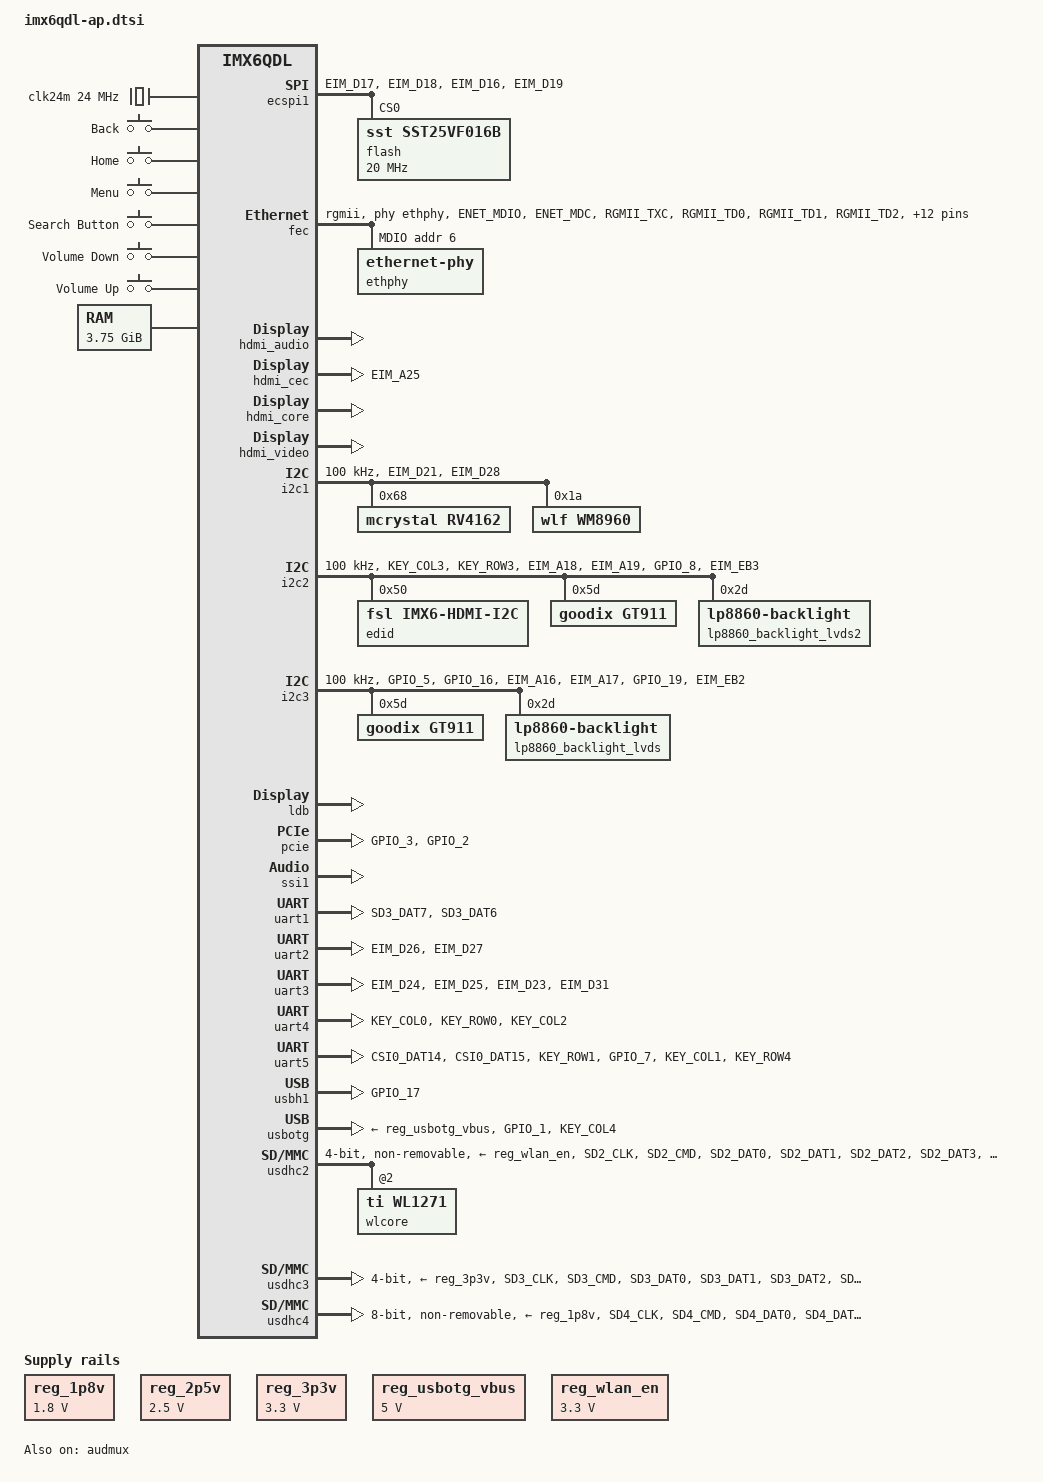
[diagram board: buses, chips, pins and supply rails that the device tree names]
/*
 * Copyright 2017 Boundary Devices, Inc.
 * Copyright 2012 Freescale Semiconductor, Inc.
 * Copyright 2011 Linaro Ltd.
 *
 * The code contained herein is licensed under the GNU General Public
 * License. You may obtain a copy of the GNU General Public License
 * Version 2 or later at the following locations:
 *
 * http://www.opensource.org/licenses/gpl-license.html
 * http://www.gnu.org/copyleft/gpl.html
 */
#include <dt-bindings/gpio/gpio.h>
#include <dt-bindings/input/input.h>

&iomuxc {
	pinctrl-names = "default";
	pinctrl-0 = <&pinctrl_hog>;

	iomuxc_imx6q_ap: iomuxc-imx6q-apgrp {
		status = "okay";
	};
};

&iomuxc_imx6q_ap {
	pinctrl_audmux: audmuxgrp {
		fsl,pins = <
			MX6QDL_PAD_CSI0_DAT4__AUD3_TXC		0x130b0
			MX6QDL_PAD_CSI0_DAT5__AUD3_TXD		0x110b0
			MX6QDL_PAD_CSI0_DAT6__AUD3_TXFS		0x130b0
			MX6QDL_PAD_CSI0_DAT7__AUD3_RXD		0x130b0
		>;
	};

	pinctrl_bt_rfkill: bt-rfkillgrp {
		fsl,pins = <
#define GP_BT_RFKILL_RESET	<&gpio6 16 GPIO_ACTIVE_LOW>
			MX6QDL_PAD_NANDF_CS3__GPIO6_IO16	0x030b0
		>;
	};

	pinctrl_ecspi1: ecspi1grp {
		fsl,pins = <
			MX6QDL_PAD_EIM_D17__ECSPI1_MISO		0x100b1
			MX6QDL_PAD_EIM_D18__ECSPI1_MOSI		0x100b1
			MX6QDL_PAD_EIM_D16__ECSPI1_SCLK		0x000b1
#define GP_ECSPI1_NOR_CS	<&gpio3 19 GPIO_ACTIVE_LOW>
			MX6QDL_PAD_EIM_D19__GPIO3_IO19		0x0b0b1
		>;
	};

	pinctrl_enet: enetgrp {
		fsl,pins = <
			MX6QDL_PAD_ENET_MDIO__ENET_MDIO		0x1b0b0
			MX6QDL_PAD_ENET_MDC__ENET_MDC		0x1b0b0
			MX6QDL_PAD_RGMII_TXC__RGMII_TXC		0x100b0
			MX6QDL_PAD_RGMII_TD0__RGMII_TD0		0x100b0
			MX6QDL_PAD_RGMII_TD1__RGMII_TD1		0x100b0
			MX6QDL_PAD_RGMII_TD2__RGMII_TD2		0x100b0
			MX6QDL_PAD_RGMII_TD3__RGMII_TD3		0x100b0
			MX6QDL_PAD_RGMII_TX_CTL__RGMII_TX_CTL	0x100b0
			MX6QDL_PAD_ENET_REF_CLK__ENET_TX_CLK	0x100b0
			MX6QDL_PAD_RGMII_RXC__RGMII_RXC		0x1b0b0
			MX6QDL_PAD_RGMII_RD0__RGMII_RD0		0x1b0b0
			MX6QDL_PAD_RGMII_RD1__RGMII_RD1		0x1b0b0
			MX6QDL_PAD_RGMII_RD2__RGMII_RD2		0x1b0b0
			MX6QDL_PAD_RGMII_RD3__RGMII_RD3		0x1b0b0
			MX6QDL_PAD_RGMII_RX_CTL__RGMII_RX_CTL	0x1b0b0
#define GP_ENET_PHY_RESET	<&gpio1 27 GPIO_ACTIVE_LOW>
			MX6QDL_PAD_ENET_RXD0__GPIO1_IO27	0x030b0
#define GPIRQ_ENET_PHY		<&gpio1 28 IRQ_TYPE_LEVEL_LOW>
			MX6QDL_PAD_ENET_TX_EN__GPIO1_IO28	0x1b0b0
#define GPIRQ_ENET		<&gpio1 6 IRQ_TYPE_LEVEL_HIGH>
			MX6QDL_PAD_GPIO_6__ENET_IRQ		0x000b1
		>;
	};

	pinctrl_gpio_keys: gpio-keysgrp {
		fsl,pins = <
#define GP_GPIOKEY_BACK		<&gpio2 2 GPIO_ACTIVE_LOW>
			MX6QDL_PAD_NANDF_D2__GPIO2_IO02		0x1b0b0
#define GP_GPIOKEY_HOME		<&gpio2 4 GPIO_ACTIVE_LOW>
			MX6QDL_PAD_NANDF_D4__GPIO2_IO04		0x1b0b0
#define GP_GPIOKEY_MENU		<&gpio2 1 GPIO_ACTIVE_LOW>
			MX6QDL_PAD_NANDF_D1__GPIO2_IO01		0x1b0b0
#define GP_GPIOKEY_SEARCH	<&gpio2 3 GPIO_ACTIVE_LOW>
			MX6QDL_PAD_NANDF_D3__GPIO2_IO03		0x1b0b0
#define GP_GPIOKEY_VOL_DN	<&gpio7 1 GPIO_ACTIVE_LOW>
			MX6QDL_PAD_SD3_DAT4__GPIO7_IO01		0x1b0b0
#define GP_GPIOKEY_VOL_UP	<&gpio7 13 GPIO_ACTIVE_LOW>
			MX6QDL_PAD_GPIO_18__GPIO7_IO13		0x1b0b0
		>;
	};

	pinctrl_hdmi_cec: hdmi-cecgrp {
		fsl,pins = <
			MX6QDL_PAD_EIM_A25__HDMI_TX_CEC_LINE	0x1f8b0
		>;
	};

	pinctrl_hog: hoggrp {
		fsl,pins = <
#define GP_GPIO_1		<&gpio4 23 GPIO_ACTIVE_LOW>
			MX6QDL_PAD_DISP0_DAT2__GPIO4_IO23	0x1b0b0
#define GP_GPIO_2		<&gpio4 21 GPIO_ACTIVE_LOW>
			MX6QDL_PAD_DISP0_DAT0__GPIO4_IO21	0x1b0b0
#define GP_GPIO_3		<&gpio4 22 GPIO_ACTIVE_LOW>
			MX6QDL_PAD_DISP0_DAT1__GPIO4_IO22	0x1b0b0
#define GP_GPIO_4		<&gpio4 24 GPIO_ACTIVE_LOW>
			MX6QDL_PAD_DISP0_DAT3__GPIO4_IO24	0x1b0b0
#define GP_GPIO_5		<&gpio4 25 GPIO_ACTIVE_LOW>
			MX6QDL_PAD_DISP0_DAT4__GPIO4_IO25	0x1b0b0
#define GP_GPIO_6		<&gpio4 26 GPIO_ACTIVE_LOW>
			MX6QDL_PAD_DISP0_DAT5__GPIO4_IO26	0x1b0b0
#define GP_GPIO_7		<&gpio1 17 GPIO_ACTIVE_LOW>
			MX6QDL_PAD_SD1_DAT1__GPIO1_IO17		0x1b0b0
#define GP_GPIO_8		<&gpio4 31 GPIO_ACTIVE_LOW>
			MX6QDL_PAD_DISP0_DAT10__GPIO4_IO31	0x1b0b0
#define GP_GPIO_9		<&gpio5 12 GPIO_ACTIVE_LOW>
			MX6QDL_PAD_DISP0_DAT18__GPIO5_IO12	0x1b0b0
#define GP_GPIO_10		<&gpio5 5 GPIO_ACTIVE_LOW>
			MX6QDL_PAD_DISP0_DAT11__GPIO5_IO05	0x1b0b0
#define GP_GPIO_11		<&gpio5 11 GPIO_ACTIVE_LOW>
			MX6QDL_PAD_DISP0_DAT17__GPIO5_IO11	0x1b0b0
#define GP_GPIO_12		<&gpio5 6 GPIO_ACTIVE_LOW>
			MX6QDL_PAD_DISP0_DAT12__GPIO5_IO06	0x1b0b0
#define GP_GPIO_13		<&gpio5 10 GPIO_ACTIVE_LOW>
			MX6QDL_PAD_DISP0_DAT16__GPIO5_IO10	0x1b0b0
#define GP_GPIO_14		<&gpio5 7 GPIO_ACTIVE_LOW>
			MX6QDL_PAD_DISP0_DAT13__GPIO5_IO07	0x1b0b0
#define GP_GPIO_15		<&gpio5 9 GPIO_ACTIVE_LOW>
			MX6QDL_PAD_DISP0_DAT15__GPIO5_IO09	0x1b0b0
#define GP_GPIO_16		<&gpio5 8 GPIO_ACTIVE_LOW>
			MX6QDL_PAD_DISP0_DAT14__GPIO5_IO08	0x1b0b0

#define GP_BT_CLK_REQ		<&gpio6 8 GPIO_ACTIVE_LOW>
			MX6QDL_PAD_NANDF_ALE__GPIO6_IO08	0x1b0b0
#define GP_BT_HOST_WAKE		<&gpio6 7 GPIO_ACTIVE_LOW>
			MX6QDL_PAD_NANDF_CLE__GPIO6_IO07	0x1b0b0
#define GP_WIFI_QOW		<&gpio2 5 GPIO_ACTIVE_LOW>
			MX6QDL_PAD_NANDF_D5__GPIO2_IO05		0x1b0b0
#define GP_TP71			<&gpio1 30 GPIO_ACTIVE_LOW>
			MX6QDL_PAD_ENET_TXD0__GPIO1_IO30	0x1b0b0
#define GP_TP74			<&gpio2 7 GPIO_ACTIVE_LOW>
			MX6QDL_PAD_NANDF_D7__GPIO2_IO07		0x1b0b0
#define GP_TP101		<&gpio3 30 GPIO_ACTIVE_LOW>
			MX6QDL_PAD_EIM_D30__GPIO3_IO30		0x1b0b0
#define GP_TP102		<&gpio5 0 GPIO_ACTIVE_LOW>
			MX6QDL_PAD_EIM_WAIT__GPIO5_IO00		0x1b0b0
		>;
	};

	pinctrl_i2c1: i2c1grp {
		fsl,pins = <
			MX6QDL_PAD_EIM_D21__I2C1_SCL		0x4001b8b1
			MX6QDL_PAD_EIM_D28__I2C1_SDA		0x4001b8b1
		>;
	};

	pinctrl_i2c1_rv4162: i2c1-rv4162grp {
		fsl,pins = <
#define GPIRQ_RTC_RV4162	<&gpio1 4 IRQ_TYPE_LEVEL_LOW>
			MX6QDL_PAD_GPIO_4__GPIO1_IO04		0x1b0b0
		>;
	};

	pinctrl_i2c1_wm8960: i2c1-wm8960grp {
		fsl,pins = <
			MX6QDL_PAD_GPIO_0__CCM_CLKO1		0x000b0		/* aud_mclk */
		>;
	};

	pinctrl_i2c2: i2c2grp {
		fsl,pins = <
			MX6QDL_PAD_KEY_COL3__I2C2_SCL		0x4001b8b1
			MX6QDL_PAD_KEY_ROW3__I2C2_SDA		0x4001b8b1
#define GP_SER2_GPIO5		<&gpio2 20 GPIO_ACTIVE_LOW>
			MX6QDL_PAD_EIM_A18__GPIO2_IO20		0x1b0b0
#define GP_SER2_GPIO6		<&gpio2 19 GPIO_ACTIVE_LOW>
			MX6QDL_PAD_EIM_A19__GPIO2_IO19		0x1b0b0
#define GP_SER2_FAN_OK		<&gpio1 8 GPIO_ACTIVE_LOW>
			MX6QDL_PAD_GPIO_8__GPIO1_IO08		0x1b0b0
#define GPIRQ_SER2		<&gpio2 31 IRQ_TYPE_EDGE_FALLING>
			MX6QDL_PAD_EIM_EB3__GPIO2_IO31		0x1b0b0
		>;
	};

	pinctrl_i2c2_gt911: i2c2_gt911grp {
		fsl,pins = <
#define GPIRQ_I2C2_SER2_TOUCH	<&gpio1 16 IRQ_TYPE_LEVEL_HIGH>	/* GP0 */
#define GP_I2C2_SER2_TOUCH	<&gpio1 16 GPIO_ACTIVE_HIGH>
			MX6QDL_PAD_SD1_DAT0__GPIO1_IO16		0x130b0
#define GP_I2C2_GT911_RESET	<&gpio1 19 GPIO_ACTIVE_HIGH>	/* GP3 */
			MX6QDL_PAD_SD1_DAT2__GPIO1_IO19		0x030b0
		>;
	};

	pinctrl_i2c2_lp8860: i2c2_lp8860grp {
		fsl,pins = <
#define GP_LVDS2_LP8860_RESET	<&gpio2 23 GPIO_ACTIVE_LOW>	/* GP1 */
			MX6QDL_PAD_EIM_CS0__GPIO2_IO23		0x030b0
		>;
	};

	pinctrl_i2c3: i2c3grp {
		fsl,pins = <
			MX6QDL_PAD_GPIO_5__I2C3_SCL		0x4001b8b1
			MX6QDL_PAD_GPIO_16__I2C3_SDA		0x4001b8b1
#define GP_SER1_GPIO5		<&gpio2 22 GPIO_ACTIVE_LOW>
			MX6QDL_PAD_EIM_A16__GPIO2_IO22		0x1b0b0
#define GP_SER1_GPIO6		<&gpio2 21 GPIO_ACTIVE_LOW>
			MX6QDL_PAD_EIM_A17__GPIO2_IO21		0x1b0b0
#define GP_SER1_FAN_OK		<&gpio4 5 GPIO_ACTIVE_LOW>
			MX6QDL_PAD_GPIO_19__GPIO4_IO05		0x1b0b0
#define GPIRQ_SER1		<&gpio2 30 IRQ_TYPE_EDGE_FALLING>
			MX6QDL_PAD_EIM_EB2__GPIO2_IO30		0x1b0b0
		>;
	};

	pinctrl_i2c3_gt911: i2c3_gt911grp {
		fsl,pins = <
#define GPIRQ_I2C3_SER1_TOUCH	<&gpio1 9 IRQ_TYPE_LEVEL_HIGH>	/* GP0 */
#define GP_I2C3_SER1_TOUCH	<&gpio1 9 GPIO_ACTIVE_HIGH>
			MX6QDL_PAD_GPIO_9__GPIO1_IO09		0x130b0
#define GP_I2C3_GT911_RESET	<&gpio1 18 GPIO_ACTIVE_HIGH>	/* GP3 */
			MX6QDL_PAD_SD1_CMD__GPIO1_IO18		0x030b0
		>;
	};

	pinctrl_i2c3_lp8860: i2c3_lp8860grp {
		fsl,pins = <
#define GP_LVDS_LP8860_RESET	<&gpio2 0 GPIO_ACTIVE_LOW>	/* GP1 */
			MX6QDL_PAD_NANDF_D0__GPIO2_IO00		0x030b0
		>;
	};

	pinctrl_pcie: pciegrp {
		fsl,pins = <
#define GP_PCIE_RESET		<&gpio1 3 GPIO_ACTIVE_LOW>
			MX6QDL_PAD_GPIO_3__GPIO1_IO03		0x030b0
#define GP_PCIE_DISABLE		<&gpio1 2 GPIO_ACTIVE_LOW>
			MX6QDL_PAD_GPIO_2__GPIO1_IO02		0x030b0
		>;
	};

	pinctrl_reg_usbotg_vbus: reg-usbotg-vbusgrp {
		fsl,pins = <
#define GP_REG_USBOTG		<&gpio3 22 GPIO_ACTIVE_HIGH>
			MX6QDL_PAD_EIM_D22__GPIO3_IO22		0x030b0
		>;
	};

	pinctrl_reg_wlan_en: reg-wlan-engrp {
		fsl,pins = <
#define GP_REG_WLAN_EN		<&gpio6 15 GPIO_ACTIVE_HIGH>
			MX6QDL_PAD_NANDF_CS2__GPIO6_IO15	0x030b0
		>;
	};

	pinctrl_uart1: uart1grp {
		fsl,pins = <
			MX6QDL_PAD_SD3_DAT7__UART1_TX_DATA	0x1b0b1
			MX6QDL_PAD_SD3_DAT6__UART1_RX_DATA	0x1b0b1
		>;
	};

	pinctrl_uart2: uart2grp {
		fsl,pins = <
			MX6QDL_PAD_EIM_D26__UART2_TX_DATA	0x1b0b1
			MX6QDL_PAD_EIM_D27__UART2_RX_DATA	0x1b0b1
		>;
	};

	pinctrl_uart3: uart3grp {
		fsl,pins = <
			MX6QDL_PAD_EIM_D24__UART3_TX_DATA	0x1b0b1
			MX6QDL_PAD_EIM_D25__UART3_RX_DATA	0x1b0b1
			MX6QDL_PAD_EIM_D23__UART3_CTS_B		0x1b0b1
			MX6QDL_PAD_EIM_D31__UART3_RTS_B		0x1b0b1
		>;
	};

	pinctrl_uart4: uart4grp {
		fsl,pins = <
			MX6QDL_PAD_KEY_COL0__UART4_TX_DATA	0x1b0b1
			MX6QDL_PAD_KEY_ROW0__UART4_RX_DATA	0x1b0b1
#define GP_UART4_TX_EN		<&gpio4 10 GPIO_ACTIVE_HIGH>
			MX6QDL_PAD_KEY_COL2__GPIO4_IO10		0x030b0
		>;
	};

	pinctrl_uart5: uart5grp {
		fsl,pins = <
			MX6QDL_PAD_CSI0_DAT14__UART5_TX_DATA	0x0b0b1
			MX6QDL_PAD_CSI0_DAT15__UART5_RX_DATA	0x1b0b1
#define GP_UART5_RX_EN		<&gpio4 9 GPIO_ACTIVE_HIGH>
			MX6QDL_PAD_KEY_ROW1__GPIO4_IO09		0x030b0		/* RS485 RX Enable: pull down */
#define GP_UART5_TX_EN		<&gpio1 7 GPIO_ACTIVE_HIGH>
			MX6QDL_PAD_GPIO_7__GPIO1_IO07		0x030b0		/* RS485 DEN: pull down */
#define GP_UART5_RS485_EN	 <&gpio4 8 GPIO_ACTIVE_HIGH>
			MX6QDL_PAD_KEY_COL1__GPIO4_IO08		0x030b0		/* RS485/!RS232 Select: pull down (rs232) */
#define GP_UART5_AON		<&gpio4 15 GPIO_ACTIVE_HIGH>
			MX6QDL_PAD_KEY_ROW4__GPIO4_IO15		0x030b0		/* ON: pull down */
		>;
	};

	pinctrl_usbh1: usbh1grp {
		fsl,pins = <
#define GP_USBH1_HUB_RESET	<&gpio7 12 GPIO_ACTIVE_LOW>
			MX6QDL_PAD_GPIO_17__GPIO7_IO12		0x030b0
		>;
	};

	pinctrl_usbotg: usbotggrp {
		fsl,pins = <
			MX6QDL_PAD_GPIO_1__USB_OTG_ID		0x17059
			MX6QDL_PAD_KEY_COL4__USB_OTG_OC		0x130b0
		>;
	};

	pinctrl_usdhc2: usdhc2grp {
		fsl,pins = <
			MX6QDL_PAD_SD2_CLK__SD2_CLK		0x10071
			MX6QDL_PAD_SD2_CMD__SD2_CMD		0x17071
			MX6QDL_PAD_SD2_DAT0__SD2_DATA0		0x17071
			MX6QDL_PAD_SD2_DAT1__SD2_DATA1		0x17071
			MX6QDL_PAD_SD2_DAT2__SD2_DATA2		0x17071
			MX6QDL_PAD_SD2_DAT3__SD2_DATA3		0x17071
			MX6QDL_PAD_SD1_CLK__OSC32K_32K_OUT	0x000b0		/* slow clock */
#define GPIRQ_WIFI		<&gpio6 14 IRQ_TYPE_LEVEL_HIGH>
			MX6QDL_PAD_NANDF_CS1__GPIO6_IO14	0x100b0
#define GP_WIFI_WAKE		<&gpio6 10 GPIO_ACTIVE_LOW>
			MX6QDL_PAD_NANDF_RB0__GPIO6_IO10	0x1b0b0
		>;
	};

	pinctrl_usdhc2_100mhz: usdhc2grp-100mhz {
		fsl,pins = <
			MX6QDL_PAD_SD2_CMD__SD2_CMD		0x170B9
			MX6QDL_PAD_SD2_CLK__SD2_CLK		0x100B9
			MX6QDL_PAD_SD2_DAT0__SD2_DATA0		0x170B9
			MX6QDL_PAD_SD2_DAT1__SD2_DATA1 		0x170B9
			MX6QDL_PAD_SD2_DAT2__SD2_DATA2 		0x170B9
			MX6QDL_PAD_SD2_DAT3__SD2_DATA3 		0x170B9
		>;
	};

	pinctrl_usdhc2_200mhz: usdhc2grp-200mhz {
		fsl,pins = <
			MX6QDL_PAD_SD2_CMD__SD2_CMD		0x170F9
			MX6QDL_PAD_SD2_CLK__SD2_CLK 		0x100F9
			MX6QDL_PAD_SD2_DAT0__SD2_DATA0		0x170F9
			MX6QDL_PAD_SD2_DAT1__SD2_DATA1 		0x170F9
			MX6QDL_PAD_SD2_DAT2__SD2_DATA2 		0x170F9
			MX6QDL_PAD_SD2_DAT3__SD2_DATA3 		0x170F9
		>;
	};

	pinctrl_usdhc3: usdhc3grp {
		fsl,pins = <
			MX6QDL_PAD_SD3_CLK__SD3_CLK		0x10059
			MX6QDL_PAD_SD3_CMD__SD3_CMD		0x17059
			MX6QDL_PAD_SD3_DAT0__SD3_DATA0		0x17059
			MX6QDL_PAD_SD3_DAT1__SD3_DATA1		0x17059
			MX6QDL_PAD_SD3_DAT2__SD3_DATA2		0x17059
			MX6QDL_PAD_SD3_DAT3__SD3_DATA3		0x17059
#define GP_USDHC3_CD		<&gpio7 0 GPIO_ACTIVE_LOW>
			MX6QDL_PAD_SD3_DAT5__GPIO7_IO00		0x1b0b0
		>;
	};

	pinctrl_usdhc4: usdhc4grp {
		fsl,pins = <
			MX6QDL_PAD_SD4_CLK__SD4_CLK		0x10059
			MX6QDL_PAD_SD4_CMD__SD4_CMD		0x17059
			MX6QDL_PAD_SD4_DAT0__SD4_DATA0		0x17059
			MX6QDL_PAD_SD4_DAT1__SD4_DATA1		0x17059
			MX6QDL_PAD_SD4_DAT2__SD4_DATA2		0x17059
			MX6QDL_PAD_SD4_DAT3__SD4_DATA3		0x17059
			MX6QDL_PAD_SD4_DAT4__SD4_DATA4		0x17059
			MX6QDL_PAD_SD4_DAT5__SD4_DATA5		0x17059
			MX6QDL_PAD_SD4_DAT6__SD4_DATA6		0x17059
			MX6QDL_PAD_SD4_DAT7__SD4_DATA7		0x17059
#define GP_EMMC_RESET		<&gpio2 6 GPIO_ACTIVE_LOW>
			MX6QDL_PAD_NANDF_D6__GPIO2_IO06		0x1b0b0
		>;
	};
};

/ {
	aliases {
		fb_hdmi = &fb_hdmi;
		fb_lvds = &fb_lvds;
		fb_lvds2 = &fb_lvds2;
		ldb = &ldb;
		mmc0 = &usdhc3;
		mmc1 = &usdhc4;
		mmc2 = &usdhc2;
		mxcfb0 = &fb_lvds;
		mxcfb1 = &fb_lvds2;
		mxcfb2 = &fb_hdmi;
		pwm_lvds = &pwm4;
		pwm_lvds2 = &pwm2;
		t_lvds = &t_lvds;
		t_lvds2 = &t_lvds2;
	};

	bt_rfkill {
		compatible = "net,rfkill-gpio";
		name = "bt_rfkill";
		pinctrl-names = "default";
		pinctrl-0 = <&pinctrl_bt_rfkill>;
		reset-gpios = GP_BT_RFKILL_RESET;
		type = <2>;	/* bluetooth */
	};

	clocks {
		clk24m: clk24m {
			compatible = "fixed-clock";
			#clock-cells = <0>;
			clock-frequency = <24000000>;
		};
	};

	fb_lvds: fb@0 {
		compatible = "fsl,mxc_sdc_fb";
		default_bpp = <16>;
		disp_dev = "ldb";
		interface_pix_fmt = "RGB666";
		int_clk = <0>;
		late_init = <0>;
		status = "disabled";
	};

	fb_lvds2: fb@2 {
		compatible = "fsl,mxc_sdc_fb";
		default_bpp = <16>;
		disp_dev = "ldb";
		interface_pix_fmt = "RGB666";
		int_clk = <0>;
		late_init = <0>;
		status = "disabled";
	};

	fb_hdmi: fb@3 {
		compatible = "fsl,mxc_sdc_fb";
		default_bpp = <32>;
		disp_dev = "hdmi";
		interface_pix_fmt = "RGB24";
		int_clk = <0>;
		late_init = <0>;
		mode_str ="1280x720M@60";
		status = "disabled";
	};

	gpio-keys {
		compatible = "gpio-keys";
		pinctrl-names = "default";
		pinctrl-0 = <&pinctrl_gpio_keys>;

		back {
			label = "Back";
			gpios = GP_GPIOKEY_BACK;
			linux,code = <KEY_BACK>;
		};

		home {
			label = "Home";
			gpios = GP_GPIOKEY_HOME;
			linux,code = <KEY_HOMEPAGE>;
		};

		menu {
			label = "Menu";
			gpios = GP_GPIOKEY_MENU;
			linux,code = <KEY_MENU>;
		};

		search {
			label = "Search Button";
			gpios = GP_GPIOKEY_SEARCH;
			linux,code = <KEY_SEARCH>;
			gpio-key,wakeup;
		};

		volume-down {
			label = "Volume Down";
			gpios = GP_GPIOKEY_VOL_DN;
			linux,code = <KEY_VOLUMEDOWN>;
		};

		volume-up {
			label = "Volume Up";
			gpios = GP_GPIOKEY_VOL_UP;
			linux,code = <KEY_VOLUMEUP>;
		};
	};

	memory {
		reg = <0x10000000 0xeffffc00>;
	};

	regulators {
		compatible = "simple-bus";
		#address-cells = <1>;
		#size-cells = <0>;

		reg_1p8v: regulator@0 {
			compatible = "regulator-fixed";
			reg = <0>;
			regulator-always-on;
			regulator-max-microvolt = <1800000>;
			regulator-min-microvolt = <1800000>;
			regulator-name = "1P8V";
		};

		reg_2p5v: regulator@1 {
			compatible = "regulator-fixed";
			reg = <1>;
			regulator-always-on;
			regulator-max-microvolt = <2500000>;
			regulator-min-microvolt = <2500000>;
			regulator-name = "2P5V";
		};

		reg_3p3v: regulator@2 {
			compatible = "regulator-fixed";
			reg = <2>;
			regulator-always-on;
			regulator-max-microvolt = <3300000>;
			regulator-min-microvolt = <3300000>;
			regulator-name = "3P3V";
		};

		reg_usbotg_vbus: regulator@3 {
			compatible = "regulator-fixed";
			enable-active-high;
			gpio = GP_REG_USBOTG;
			pinctrl-names = "default";
			pinctrl-0 = <&pinctrl_reg_usbotg_vbus>;
			reg = <3>;
			regulator-max-microvolt = <5000000>;
			regulator-min-microvolt = <5000000>;
			regulator-name = "usb_otg_vbus";
		};

		reg_wlan_en: regulator@4 {
			compatible = "regulator-fixed";
			enable-active-high;
			gpio = GP_REG_WLAN_EN;
			pinctrl-names = "default";
			pinctrl-0 = <&pinctrl_reg_wlan_en>;
			reg = <4>;
			regulator-max-microvolt = <3300000>;
			regulator-min-microvolt = <3300000>;
			regulator-name = "wlan-en";
			startup-delay-us = <70000>;
		};
	};

	sound {
		compatible = "fsl,imx6q-ap-wm8960",
			     "fsl,imx-audio-wm8960";
#ifdef USE_ASRC
		asrc-controller = <&asrc>;
#endif
		audio-codec = <&wm8960>;
		audio-routing =
			"Headphone Jack", "HP_L",
			"Headphone Jack", "HP_R",
			"Ext Spk", "SPK_RP",
			"Ext Spk", "SPK_RN",
			"LINPUT1", "Main MIC",
			"Main MIC", "MICB"
#ifdef USE_ASRC
			,"CPU-Playback", "ASRC-Playback",
			"Playback", "CPU-Playback",
			"ASRC-Capture", "CPU-Capture",
			"CPU-Capture", "Capture"
#endif
			;
		codec-master;
		cpu-dai = <&ssi1>;
		/* JD2: hp detect high for headphone*/
		hp-det = <2 0>;
		model = "wm8960-audio";
		mux-int-port = <1>;
		mux-ext-port = <3>;
	};

	sound-hdmi {
		compatible = "fsl,imx6q-audio-hdmi",
			     "fsl,imx-audio-hdmi";
		hdmi-controller = <&hdmi_audio>;
		model = "imx-audio-hdmi";
	};

	v4l2_out {
		compatible = "fsl,mxc_v4l2_output";
		status = "okay";
	};
};

&audmux {
	pinctrl-names = "default";
	pinctrl-0 = <&pinctrl_audmux>;
	status = "okay";
};

&ecspi1 {
	cs-gpios = GP_ECSPI1_NOR_CS;
	fsl,spi-num-chipselects = <1>;
	pinctrl-names = "default";
	pinctrl-0 = <&pinctrl_ecspi1>;
	status = "okay";

	flash: m25p80@0 {
		compatible = "sst,sst25vf016b";
		reg = <0>;
		spi-max-frequency = <20000000>;
		#address-cells = <1>;
		#size-cells = <1>;
		mtd@00000000 {
			label = "U-Boot";
			reg = <0x0 0xC0000>;
		};

		mtd@000C0000 {
			label = "env";
			reg = <0xC0000 0x2000>;
		};
		mtd@000C2000 {
			label = "splash";
			reg = <0xC2000 0x13e000>;
		};
	};
};

&fec {
	interrupts-extended = GPIRQ_ENET,
			      <&gpc 0 119 IRQ_TYPE_LEVEL_HIGH>;
	phy-handle = <&ethphy>;
	phy-mode = "rgmii";
#if 0
	phy-reset-gpios = GP_ENET_PHY_RESET;
#endif
	pinctrl-names = "default";
	pinctrl-0 = <&pinctrl_enet>;
	status = "okay";

	mdio {
		#address-cells = <0>;
		#size-cells = <1>;

		ethphy: ethernet-phy@6 {
			interrupts-extended = GPIRQ_ENET_PHY;
			reg = <6>;
		};
	};
};

&hdmi_audio {
	status = "okay";
};

&hdmi_cec {
	pinctrl-names = "default";
	pinctrl-0 = <&pinctrl_hdmi_cec>;
	status = "okay";
};

&hdmi_core {
	ipu_id = <1>;
	disp_id = <0>;
	status = "okay";
};

&hdmi_video {
	fsl,phy_reg_cksymtx = <0x800d>;
	fsl,phy_reg_vlev = <0x0294>;
	status = "okay";
};

&i2c1 {
	clock-frequency = <100000>;
	pinctrl-names = "default";
	pinctrl-0 = <&pinctrl_i2c1>;
	status = "okay";

	rv4162@68 {
		compatible = "mcrystal,rv4162";
		interrupts-extended = GPIRQ_RTC_RV4162;
		pinctrl-names = "default";
		pinctrl-0 = <&pinctrl_i2c1_rv4162>;
		reg = <0x68>;
	};

	wm8960: wm8960@1a {
		assigned-clocks =        <&clks IMX6QDL_CLK_CKO>;
		assigned-clock-parents = <&clks IMX6QDL_CLK_CKO2>;
		clock-names = "mclk";
		clocks = <&clks IMX6QDL_CLK_CKO>;
		compatible = "wlf,wm8960";
		pinctrl-names = "default";
		pinctrl-0 = <&pinctrl_i2c1_wm8960>;
		reg = <0x1a>;
		wlf,shared-lrclk;
	};
};

&i2c2 {
	clock-frequency = <100000>;
	pinctrl-names = "default";
	pinctrl-0 = <&pinctrl_i2c2>;
	status = "okay";

	edid@50 {
		compatible = "fsl,imx6-hdmi-i2c";
		reg = <0x50>;
	};

	gt911@5d {
		compatible = "goodix,gt911";
		esd-recovery-timeout-ms = <2000>;
		interrupts-extended = GPIRQ_I2C2_SER2_TOUCH;
		irq-gpios = GP_I2C2_SER2_TOUCH;
		pinctrl-names = "default";
		pinctrl-0 = <&pinctrl_i2c2_gt911>;
		reg = <0x5d>;
		reset-gpios = GP_I2C2_GT911_RESET;
		substitute-i2c-address = <0x2c>;
	};

	lp8860_backlight_lvds2@2d {
		brightness-levels = <0 1 2 3 4 5 6 7 8 9 10>;
		compatible = "lp8860-backlight";
		default-brightness-level = <10>;
		display = <&fb_lvds2>;
		pinctrl-names = "default";
		pinctrl-0 = <&pinctrl_i2c2_lp8860>;
		reg = <0x2d>;
		reset-gpios = GP_LVDS2_LP8860_RESET;
	};
};

&i2c3 {
	clock-frequency = <100000>;
	pinctrl-names = "default";
	pinctrl-0 = <&pinctrl_i2c3>;
	status = "okay";

	gt911@5d {
		compatible = "goodix,gt911";
		esd-recovery-timeout-ms = <2000>;
		interrupts-extended = GPIRQ_I2C3_SER1_TOUCH;
		irq-gpios = GP_I2C3_SER1_TOUCH;
		pinctrl-names = "default";
		pinctrl-0 = <&pinctrl_i2c3_gt911>;
		reg = <0x5d>;
		reset-gpios = GP_I2C3_GT911_RESET;
		substitute-i2c-address = <0x2c>;
	};

	lp8860_backlight_lvds@2d {
		brightness-levels = <0 1 2 3 4 5 6 7 8 9 10>;
		compatible = "lp8860-backlight";
		default-brightness-level = <10>;
		display = <&fb_lvds>;
		pinctrl-names = "default";
		pinctrl-0 = <&pinctrl_i2c3_lp8860>;
		reg = <0x2d>;
		reset-gpios = GP_LVDS_LP8860_RESET;
	};
};

&ldb {
	status = "okay";

	lvds-channel@0 {
		crtc = "ipu1-di1";
		fsl,data-mapping = "spwg";
		fsl,data-width = <24>;
		primary;
		status = "okay";

		display-timings {
			t_lvds: t_lvds_default {
				/* TFC_A9700LTWV35TC_C1 values may be changed in bootscript */
				clock-frequency = <29232073>;
				hactive = <800>;
				vactive = <480>;
				hback-porch = <40>;
				hfront-porch = <40>;
				vback-porch = <29>;
				vfront-porch = <13>;
				hsync-len = <48>;
				vsync-len = <3>;
			};
		};
	};

	lvds-channel@1 {
		crtc = "ipu1-di0";
		fsl,data-mapping = "spwg";
		fsl,data-width = <24>;
		status = "okay";

		display-timings {
			t_lvds2: t_lvds2_default {
				/* TFC_A9700LTWV35TC_C1 values may be changed in bootscript */
				clock-frequency = <29232073>;
				hactive = <800>;
				vactive = <480>;
				hback-porch = <40>;
				hfront-porch = <40>;
				vback-porch = <29>;
				vfront-porch = <13>;
				hsync-len = <48>;
				vsync-len = <3>;
			};
		};
	};
};

&pcie {
	pinctrl-names = "default";
	pinctrl-0 = <&pinctrl_pcie>;
	reset-gpios = GP_PCIE_RESET;
	status = "okay";
};

&ssi1 {
	fsl,mode = "i2s-slave";
	status = "okay";
};

&uart1 {
	pinctrl-names = "default";
	pinctrl-0 = <&pinctrl_uart1>;
	status = "okay";
};

&uart2 {
	pinctrl-names = "default";
	pinctrl-0 = <&pinctrl_uart2>;
	status = "okay";
};

&uart3 {
	pinctrl-names = "default";
	pinctrl-0 = <&pinctrl_uart3>;
	fsl,uart-has-rtscts;
	status = "okay";
};

&uart4 {
	control-gpios = GP_UART4_TX_EN;
	off_levels = <0>;
	pinctrl-names = "default";
	pinctrl-0 = <&pinctrl_uart4>;
	rs232_levels = <0>;
	rs232_txen_mask = <0>;
	rs232_txen_levels = <0>;
	rs485_levels = <0>;
	rs485_txen_mask = <0x1>;
	rs485_txen_levels = <1>;
	rs485-mode = <1>;
	rxact_mask = <0>;
	rxact_levels = <0>;
	status = "okay";
	uart-has-rs485-half-duplex;
};

&uart5 {
	control-gpios = GP_UART5_RX_EN, GP_UART5_TX_EN, GP_UART5_RS485_EN, GP_UART5_AON;
	off_levels = <0>;
	pinctrl-names = "default";
	pinctrl-0 = <&pinctrl_uart5>;
#define M_RX_EN		1
#define M_TX_EN		2
#define M_RS485		4
#define M_AON		8
	rs232_levels = <M_RX_EN>;
	rs232_txen_mask = <0>;
	rs232_txen_levels = <0>;
	rs485_levels = <0xd>;
	rs485_txen_mask = <0x3>;
	rs485_txen_levels = <M_TX_EN>;
	rs485-mode = <1>;	/* 1 to enable */
	rxact_mask = <0>;
	rxact_levels = <0>;
	status = "okay";
	uart-has-rs485-half-duplex;
};

&usbh1 {
	disable-over-current;
	pinctrl-names = "default";
	pinctrl-0 = <&pinctrl_usbh1>;
	reset-gpios = GP_USBH1_HUB_RESET;
	status = "okay";
};

&usbotg {
	disable-over-current;
	pinctrl-names = "default";
	pinctrl-0 = <&pinctrl_usbotg>;
	status = "okay";
	vbus-supply = <&reg_usbotg_vbus>;
};

&usdhc2 {	/* uSDHC2, TiWi wl1271 */
	bus-width = <4>;
	cap-power-off-card;
	keep-power-in-suspend;
	non-removable;
	pinctrl-names = "default", "state_100mhz", "state_200mhz";
	pinctrl-0 = <&pinctrl_usdhc2>;
	pinctrl-1 = <&pinctrl_usdhc2_100mhz>;
	pinctrl-2 = <&pinctrl_usdhc2_200mhz>;
	status = "okay";
	vmmc-supply = <&reg_wlan_en>;
	vqmmc-1-8-v;

	#address-cells = <1>;
	#size-cells = <0>;
	wlcore: wlcore@2 {
		compatible = "ti,wl1271";
		interrupts-extended = GPIRQ_WIFI;
		reg = <2>;
		ref-clock-frequency = <38400000>;
	};
};

&usdhc3 {
	bus-width = <4>;
	cd-gpios = GP_USDHC3_CD;
	pinctrl-names = "default";
	pinctrl-0 = <&pinctrl_usdhc3>;
	status = "okay";
	vmmc-supply = <&reg_3p3v>;
};

&usdhc4 {
	bus-width = <8>;
	keep-power-in-suspend;
	non-removable;
	pinctrl-names = "default";
	pinctrl-0 = <&pinctrl_usdhc4>;
	status = "okay";
	vmmc-supply = <&reg_1p8v>;
	vqmmc-1-8-v;
};
